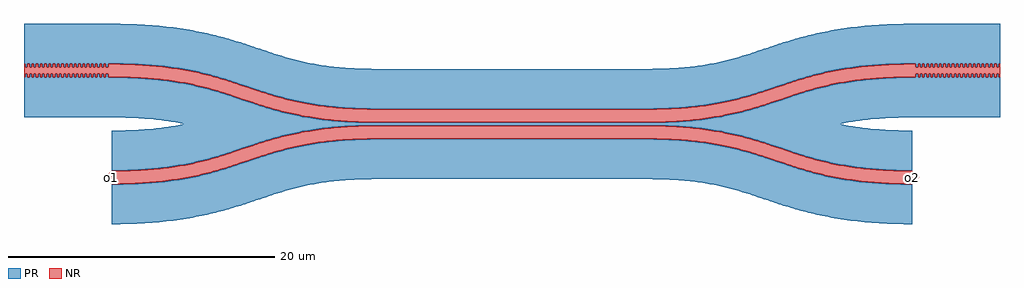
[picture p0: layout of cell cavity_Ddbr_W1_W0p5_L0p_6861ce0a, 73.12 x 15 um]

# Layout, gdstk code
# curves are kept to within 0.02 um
from math import pi, radians
import gdstk
lib = gdstk.Library(unit=1e-6, precision=1e-09)
def R(c, l, rs):  # rectangles x0, y0, x1, y1
    for r in rs: c.add(gdstk.rectangle(r[:2], r[2:], *l))
def P(c, l, *ps):  # polygons
    for p in ps: c.add(gdstk.Polygon(p, *l))
PR = (60, 0)
NR = (61, 0)

ps_45 = lib.new_cell('ps_45')
P(ps_45, PR, [(-20,-6.882),(-20,-3.882),(-18.527,-3.856),(-16.94,-3.762),(-15.527,-3.607),(-14.26,-3.402),(-13.114,-3.155),(-12.063,-2.877),(-8.142,-1.609),(-6.475,-1.157),(-5.36,-0.927),(-4.338,-0.765),(-3.214,-0.638),(-1.971,-0.549),(0,-0.5),(20,-0.5),(21.437,-0.525),(22.732,-0.597),(24.758,-0.826),(26.651,-1.199),(28.142,-1.609),(32.063,-2.877),(33.114,-3.155),(34.26,-3.402),(35.527,-3.607),(36.94,-3.762),(38.527,-3.856),(40,-3.882),(40,-6.882),(38.418,-6.854),(36.965,-6.774),(35.628,-6.644),(34.395,-6.472),(33.04,-6.215),(31.614,-5.866),(30.338,-5.489),(27.265,-4.478),(26.247,-4.19),(25.322,-3.975),(24.12,-3.764),(22.938,-3.625),(21.575,-3.533),(20,-3.5),(-0.279,-3.501),(-1.575,-3.533),(-2.724,-3.606),(-4.302,-3.791),(-5.16,-3.942),(-6.098,-4.152),(-7.409,-4.523),(-11.235,-5.76),(-12.409,-6.071),(-13.701,-6.349),(-15.123,-6.58),(-16.689,-6.751),(-18.418,-6.854)],
  [(-20,-2.882),(-20,0.118),(-18.425,0.151),(-17.062,0.243),(-15.698,0.409),(-14.56,0.618),(-15.698,0.827),(-17.062,0.993),(-18.425,1.085),(-20,1.118),(-20,4.118),(-18.563,4.093),(-17.024,4.001),(-15.662,3.853),(-14.256,3.618),(-13.175,3.376),(-12.017,3.057),(-8.917,2.04),(-7.767,1.693),(-6.516,1.377),(-5.332,1.143),(-4.019,0.953),(-2.808,0.836),(-1.473,0.762),(0,0.736),(20.307,0.737),(21.751,0.773),(23.06,0.856),(24.91,1.074),(25.939,1.255),(26.886,1.463),(28.597,1.939),(32.339,3.151),(33.349,3.419),(34.446,3.655),(35.662,3.853),(37.024,4.001),(38.563,4.093),(40,4.118),(40,1.118),(38.425,1.085),(37.062,0.993),(35.698,0.827),(34.56,0.618),(35.698,0.409),(37.062,0.243),(38.425,0.151),(40,0.118),(40,-2.882),(38.563,-2.857),(37.024,-2.765),(35.662,-2.617),(34.256,-2.382),(33.175,-2.14),(32.017,-1.821),(28.917,-0.804),(27.767,-0.457),(26.516,-0.141),(25.332,0.093),(24.019,0.283),(22.808,0.4),(21.473,0.474),(20,0.5),(-0.307,0.499),(-1.751,0.463),(-3.06,0.38),(-4.91,0.162),(-5.939,-0.019),(-6.886,-0.227),(-8.597,-0.703),(-12.339,-1.915),(-13.349,-2.183),(-14.446,-2.419),(-15.662,-2.617),(-17.024,-2.765),(-18.563,-2.857)],
  [(0,1.736),(-1.437,1.761),(-2.976,1.853),(-4.338,2.001),(-5.744,2.236),(-6.825,2.478),(-7.983,2.797),(-11.083,3.814),(-12.233,4.161),(-13.484,4.477),(-14.668,4.711),(-15.981,4.901),(-17.192,5.018),(-18.527,5.092),(-20,5.118),(-20,8.118),(-18.418,8.09),(-16.965,8.01),(-15.628,7.88),(-14.395,7.708),(-13.04,7.451),(-11.614,7.102),(-10.338,6.725),(-7.265,5.714),(-6.247,5.426),(-5.322,5.211),(-4.12,5),(-2.938,4.861),(-1.575,4.769),(0,4.736),(20.279,4.737),(21.575,4.769),(22.724,4.842),(24.302,5.027),(25.16,5.178),(26.098,5.388),(27.409,5.759),(31.235,6.996),(32.409,7.307),(33.701,7.585),(35.123,7.816),(36.689,7.987),(38.418,8.09),(40,8.118),(40,5.118),(38.249,5.081),(36.694,4.976),(35.306,4.812),(33.866,4.56),(32.754,4.301),(31.73,4.015),(27.497,2.656),(26.115,2.313),(24.758,2.062),(22.732,1.833),(20.593,1.74)])

coupler_g0p236_l20_d8_d_ = lib.new_cell('coupler_G0p236_L20_D8_D_89585f5f$1')

ng_43 = lib.new_cell('ng_43')
P(ng_43, NR, [(-20,-3.882),(-20,-2.882),(-18.563,-2.857),(-17.268,-2.785),(-16.098,-2.672),(-14.837,-2.49),(-13.525,-2.225),(-12.503,-1.962),(-8.27,-0.603),(-7.246,-0.317),(-6.134,-0.058),(-4.91,0.162),(-3.549,0.335),(-2.023,0.45),(-0.607,0.496),(20.307,0.499),(21.751,0.463),(23.06,0.38),(24.91,0.162),(25.939,-0.019),(26.886,-0.227),(28.597,-0.703),(32.339,-1.915),(33.349,-2.183),(34.446,-2.419),(35.662,-2.617),(37.024,-2.765),(38.563,-2.857),(40,-2.882),(40,-3.882),(37.71,-3.817),(35.752,-3.637),(34.26,-3.402),(32.578,-3.019),(31.083,-2.578),(28.142,-1.609),(26.475,-1.157),(25.36,-0.927),(24.338,-0.765),(22.23,-0.563),(20,-0.5),(-0.593,-0.504),(-2.23,-0.563),(-3.448,-0.66),(-4.758,-0.826),(-5.931,-1.038),(-6.996,-1.285),(-7.983,-1.561),(-11.083,-2.578),(-12.233,-2.925),(-13.484,-3.241),(-14.668,-3.475),(-15.981,-3.665),(-17.192,-3.782),(-18.527,-3.856)],
  [(0,0.736),(-1.473,0.762),(-2.808,0.836),(-4.019,0.953),(-5.332,1.143),(-6.516,1.377),(-7.767,1.693),(-8.917,2.04),(-12.017,3.057),(-13.175,3.376),(-14.256,3.618),(-15.662,3.853),(-17.024,4.001),(-18.563,4.093),(-20,4.118),(-20,5.118),(-18.527,5.092),(-17.192,5.018),(-15.981,4.901),(-14.668,4.711),(-13.484,4.477),(-12.233,4.161),(-11.083,3.814),(-7.983,2.797),(-6.825,2.478),(-5.744,2.236),(-4.338,2.001),(-2.976,1.853),(-1.437,1.761),(0,1.736),(20.3,1.737),(21.707,1.772),(22.976,1.853),(24.758,2.062),(26.651,2.435),(28.142,2.845),(32.063,4.113),(33.114,4.391),(34.26,4.638),(35.527,4.843),(36.94,4.998),(38.527,5.092),(40,5.118),(40,4.118),(38.563,4.093),(37.024,4.001),(35.662,3.853),(34.256,3.618),(33.175,3.376),(32.017,3.057),(28.597,1.939),(27.246,1.553),(25.538,1.179),(23.786,0.926),(22.023,0.786),(20.307,0.737)])

coupler_g0p236_l20_d8_d2 = lib.new_cell('coupler_G0p236_L20_D8_D20_W1_B3')
coupler_g0p236_l20_d8_d2.add(gdstk.Reference(ps_45, (0,0)))
coupler_g0p236_l20_d8_d2.add(gdstk.Reference(coupler_g0p236_l20_d8_d_, (0,0)))
coupler_g0p236_l20_d8_d2.add(gdstk.Reference(ng_43, (0,0)))

ps_33 = lib.new_cell('ps_33')
P(ps_33, PR, [(0.159,0.25),(0.159,0.5),(-0.1,0.5),(-0.1,3.5),(6.46,3.5),(6.46,0.5),(6.36,0.5),(6.36,0.25),(6.201,0.25),(6.201,0.5),(6.042,0.5),(6.042,0.25),(5.883,0.25),(5.883,0.5),(5.724,0.5),(5.724,0.25),(5.565,0.25),(5.565,0.5),(5.406,0.5),(5.406,0.25),(5.247,0.25),(5.247,0.5),(5.088,0.5),(5.088,0.25),(4.929,0.25),(4.929,0.5),(4.77,0.5),(4.77,0.25),(4.611,0.25),(4.611,0.5),(4.452,0.5),(4.452,0.25),(4.293,0.25),(4.293,0.5),(4.134,0.5),(4.134,0.25),(3.975,0.25),(3.975,0.5),(3.816,0.5),(3.816,0.25),(3.657,0.25),(3.657,0.5),(3.498,0.5),(3.498,0.25),(3.339,0.25),(3.339,0.5),(3.18,0.5),(3.18,0.25),(3.021,0.25),(3.021,0.5),(2.862,0.5),(2.862,0.25),(2.703,0.25),(2.703,0.5),(2.544,0.5),(2.544,0.25),(2.385,0.25),(2.385,0.5),(2.226,0.5),(2.226,0.25),(2.067,0.25),(2.067,0.5),(1.908,0.5),(1.908,0.25),(1.749,0.25),(1.749,0.5),(1.59,0.5),(1.59,0.25),(1.431,0.25),(1.431,0.5),(1.272,0.5),(1.272,0.25),(1.113,0.25),(1.113,0.5),(0.954,0.5),(0.954,0.25),(0.795,0.25),(0.795,0.5),(0.636,0.5),(0.636,0.25),(0.477,0.25),(0.477,0.5),(0.318,0.5),(0.318,0.25)],
  [(-0.1,-3.5),(-0.1,-0.5),(0.159,-0.5),(0.159,-0.25),(0.318,-0.25),(0.318,-0.5),(0.477,-0.5),(0.477,-0.25),(0.636,-0.25),(0.636,-0.5),(0.795,-0.5),(0.795,-0.25),(0.954,-0.25),(0.954,-0.5),(1.113,-0.5),(1.113,-0.25),(1.272,-0.25),(1.272,-0.5),(1.431,-0.5),(1.431,-0.25),(1.59,-0.25),(1.59,-0.5),(1.749,-0.5),(1.749,-0.25),(1.908,-0.25),(1.908,-0.5),(2.067,-0.5),(2.067,-0.25),(2.226,-0.25),(2.226,-0.5),(2.385,-0.5),(2.385,-0.25),(2.544,-0.25),(2.544,-0.5),(2.703,-0.5),(2.703,-0.25),(2.862,-0.25),(2.862,-0.5),(3.021,-0.5),(3.021,-0.25),(3.18,-0.25),(3.18,-0.5),(3.339,-0.5),(3.339,-0.25),(3.498,-0.25),(3.498,-0.5),(3.657,-0.5),(3.657,-0.25),(3.816,-0.25),(3.816,-0.5),(3.975,-0.5),(3.975,-0.25),(4.134,-0.25),(4.134,-0.5),(4.293,-0.5),(4.293,-0.25),(4.452,-0.25),(4.452,-0.5),(4.611,-0.5),(4.611,-0.25),(4.77,-0.25),(4.77,-0.5),(4.929,-0.5),(4.929,-0.25),(5.088,-0.25),(5.088,-0.5),(5.247,-0.5),(5.247,-0.25),(5.406,-0.25),(5.406,-0.5),(5.565,-0.5),(5.565,-0.25),(5.724,-0.25),(5.724,-0.5),(5.883,-0.5),(5.883,-0.25),(6.042,-0.25),(6.042,-0.5),(6.201,-0.5),(6.201,-0.25),(6.36,-0.25),(6.36,-0.5),(6.46,-0.5),(6.46,-3.5)])

ng_31 = lib.new_cell('ng_31')
R(ng_31, NR, [(-0.1,-0.5,0,0.5), (6.36,-0.5,6.46,0.5)])
P(ng_31, NR, [(0,-0.5),(0,0.5),(0.159,0.5),(0.159,0.25),(0.318,0.25),(0.318,-0.25),(0.159,-0.25),(0.159,-0.5)],
  [(0.318,-0.5),(0.318,0.5),(0.477,0.5),(0.477,0.25),(0.636,0.25),(0.636,-0.25),(0.477,-0.25),(0.477,-0.5)],
  [(0.636,-0.5),(0.636,0.5),(0.795,0.5),(0.795,0.25),(0.954,0.25),(0.954,-0.25),(0.795,-0.25),(0.795,-0.5)],
  [(0.954,-0.5),(0.954,0.5),(1.113,0.5),(1.113,0.25),(1.272,0.25),(1.272,-0.25),(1.113,-0.25),(1.113,-0.5)],
  [(1.272,-0.5),(1.272,0.5),(1.431,0.5),(1.431,0.25),(1.59,0.25),(1.59,-0.25),(1.431,-0.25),(1.431,-0.5)],
  [(1.59,-0.5),(1.59,0.5),(1.749,0.5),(1.749,0.25),(1.908,0.25),(1.908,-0.25),(1.749,-0.25),(1.749,-0.5)],
  [(1.908,-0.5),(1.908,0.5),(2.067,0.5),(2.067,0.25),(2.226,0.25),(2.226,-0.25),(2.067,-0.25),(2.067,-0.5)],
  [(2.226,-0.5),(2.226,0.5),(2.385,0.5),(2.385,0.25),(2.544,0.25),(2.544,-0.25),(2.385,-0.25),(2.385,-0.5)],
  [(2.544,-0.5),(2.544,0.5),(2.703,0.5),(2.703,0.25),(2.862,0.25),(2.862,-0.25),(2.703,-0.25),(2.703,-0.5)],
  [(2.862,-0.5),(2.862,0.5),(3.021,0.5),(3.021,0.25),(3.18,0.25),(3.18,-0.25),(3.021,-0.25),(3.021,-0.5)],
  [(3.18,-0.5),(3.18,0.5),(3.339,0.5),(3.339,0.25),(3.498,0.25),(3.498,-0.25),(3.339,-0.25),(3.339,-0.5)],
  [(3.498,-0.5),(3.498,0.5),(3.657,0.5),(3.657,0.25),(3.816,0.25),(3.816,-0.25),(3.657,-0.25),(3.657,-0.5)],
  [(3.816,-0.5),(3.816,0.5),(3.975,0.5),(3.975,0.25),(4.134,0.25),(4.134,-0.25),(3.975,-0.25),(3.975,-0.5)],
  [(4.134,-0.5),(4.134,0.5),(4.293,0.5),(4.293,0.25),(4.452,0.25),(4.452,-0.25),(4.293,-0.25),(4.293,-0.5)],
  [(4.452,-0.5),(4.452,0.5),(4.611,0.5),(4.611,0.25),(4.77,0.25),(4.77,-0.25),(4.611,-0.25),(4.611,-0.5)],
  [(4.77,-0.5),(4.77,0.5),(4.929,0.5),(4.929,0.25),(5.088,0.25),(5.088,-0.25),(4.929,-0.25),(4.929,-0.5)],
  [(5.088,-0.5),(5.088,0.5),(5.247,0.5),(5.247,0.25),(5.406,0.25),(5.406,-0.25),(5.247,-0.25),(5.247,-0.5)],
  [(5.406,-0.5),(5.406,0.5),(5.565,0.5),(5.565,0.25),(5.724,0.25),(5.724,-0.25),(5.565,-0.25),(5.565,-0.5)],
  [(5.724,-0.5),(5.724,0.5),(5.883,0.5),(5.883,0.25),(6.042,0.25),(6.042,-0.25),(5.883,-0.25),(5.883,-0.5)],
  [(6.042,-0.5),(6.042,0.5),(6.201,0.5),(6.201,0.25),(6.36,0.25),(6.36,-0.25),(6.201,-0.25),(6.201,-0.5)])

ps_6 = lib.new_cell('ps_6')

ng_4 = lib.new_cell('ng_4')

straight_l0p1_n2_cspos__ = lib.new_cell('straight_L0p1_N2_CSpos__a960f19e$1')

straight_l0p1_w1_b3 = lib.new_cell('straight_L0p1_W1_B3')
straight_l0p1_w1_b3.add(gdstk.Reference(ps_6, (0,0)))
straight_l0p1_w1_b3.add(gdstk.Reference(ng_4, (0,0)))
straight_l0p1_w1_b3.add(gdstk.Reference(straight_l0p1_n2_cspos__, (0,0)))

ps_27 = lib.new_cell('ps_27')

ng_25 = lib.new_cell('ng_25')

unnamed_8_1 = lib.new_cell('Unnamed_8$1')

dbr_cell_w1_w0p5_l0p159_ = lib.new_cell('dbr_cell_W1_W0p5_L0p159_4f4d6ab8')
dbr_cell_w1_w0p5_l0p159_.add(gdstk.Reference(ps_27, (0,0)))
dbr_cell_w1_w0p5_l0p159_.add(gdstk.Reference(ng_25, (0,0)))
dbr_cell_w1_w0p5_l0p159_.add(gdstk.Reference(unnamed_8_1, (0,0)))

unnamed_0_1 = lib.new_cell('Unnamed_0$1')
unnamed_0_1.add(gdstk.Reference(straight_l0p1_w1_b3, (0,0), rotation=pi))
unnamed_0_1.add(gdstk.Reference(straight_l0p1_w1_b3, (6.36,0)))
r = gdstk.Reference(dbr_cell_w1_w0p5_l0p159_, (0,0)); r.repetition = gdstk.Repetition(20, 1, v1=(0.318,0), v2=(0,0)); unnamed_0_1.add(r)

dbr_w1_w0p5_l0p159_l0p1_ = lib.new_cell('dbr_W1_W0p5_L0p159_L0p1_c723c7f9')
dbr_w1_w0p5_l0p159_l0p1_.add(gdstk.Reference(ps_33, (0,0)))
dbr_w1_w0p5_l0p159_l0p1_.add(gdstk.Reference(ng_31, (0,0)))
dbr_w1_w0p5_l0p159_l0p1_.add(gdstk.Reference(unnamed_0_1, (0,0)))

cavity_ddbr_w1_w0p5_l0p_ = lib.new_cell('cavity_Ddbr_W1_W0p5_L0p_6861ce0a')
P(cavity_ddbr_w1_w0p5_l0p_, NR, [(-20,-3.882),(-20.5,-3.382),(-20.125,-3.007),(-20.05,-3.007),(-20.43,-3.382),(-20.05,-3.382),(-20.05,-3.007),(-20.125,-3.007),(-20,-2.882)],
  [(40,-3.882),(40,-3.382),(40.05,-3.382),(40.05,-3.757),(40.43,-3.382),(40,-3.382),(40,-2.882),(40.5,-3.382)])
cavity_ddbr_w1_w0p5_l0p_.add(gdstk.Reference(coupler_g0p236_l20_d8_d2, (0,0)))
cavity_ddbr_w1_w0p5_l0p_.add(gdstk.Reference(dbr_w1_w0p5_l0p159_l0p1_, (-20.1,4.618), rotation=pi))
cavity_ddbr_w1_w0p5_l0p_.add(gdstk.Reference(dbr_w1_w0p5_l0p159_l0p1_, (40.1,4.618)))
cavity_ddbr_w1_w0p5_l0p_.add(gdstk.Label('o2', (40,-3.382), layer=61, texttype=0))
cavity_ddbr_w1_w0p5_l0p_.add(gdstk.Label('o1', (-20,-3.382), layer=61, texttype=0))

lib.write_gds('cavity_Ddbr_W1_W0p5_L0p_6861ce0a.gds')
